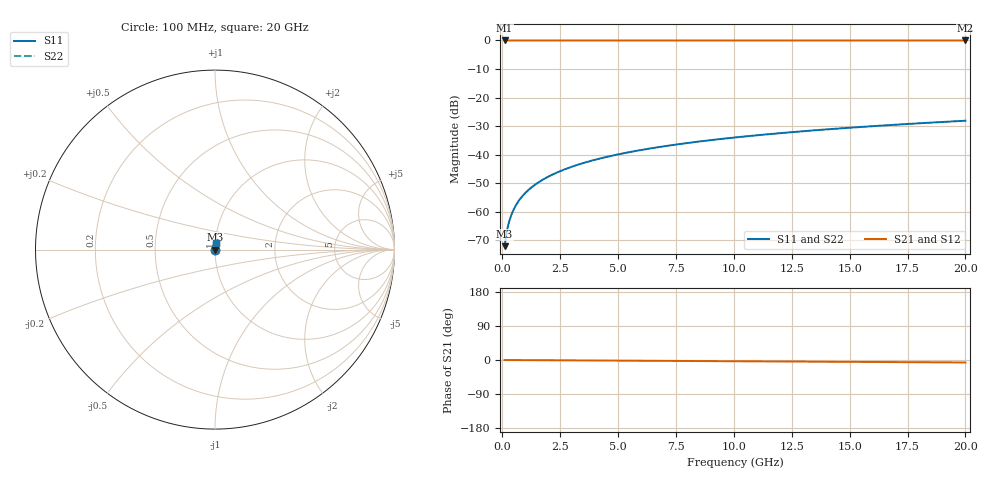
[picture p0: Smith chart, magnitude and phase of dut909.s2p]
! Touchstone file exported from HFSS 2026.1.0
!  File:  C:/ffzhzh/LocalFiles/Ansys_Project_Files/temp_train_TSV_909_1783186303_55132.aedt
!  Generated:  01:33:23 AM Jul  5, 2026
!  Design:  TSV
!  Project:  temp_train_TSV_909_1783186303_55132
! Variables:
!  h_bsmrdl = 2um
!  h_ox = 20um
!  h_rdl = 5um
!  h_sub = 53.2um
!  h_tmrdl = 5um
!  h_tsv = 53.2um
!  h_via = 3um
!  l_bsmrdl = 300um
!  l_sub = 418.36um
!  l_tmrdl = 200um
!  m_sub = 200um
!  pitch = 56.41um
!  r_tsv = 9.18um
!  s_tmrdl = 10um
!  w_bsmrdl = 18um
!  w_sub = 500um
!  w_tmrdl = 12um
!  x_tsv_center1 = 206um
!  x_tsv_center2 = 524um
!  x_tsv_center3 = 736um
!  x_tsv_center4 = 1054um
!  x_tsv_center5 = 1266um
!  x_tsv_center6 = 1584um
# GHz S MA R 50.000000
! Terminal data exported
! Port[1] = TSV1_1_T1
! Port[2] = TSV1_1_T2
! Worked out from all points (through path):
!   200 points, 100 MHz to 20 GHz, reference 50 ohm
!   highest |S21| = 0.00 dB at 100 MHz (marker M1); lowest = 0.0 dB at 20 GHz (marker M2)
!   lowest |S11| = -72.0 dB at 100 MHz (marker M3), VSWR 1.00, Z = 50 + j0.0227 ohm
!   |S11| at or under -10 dB: start of sweep to end of sweep
!   |S22| runs from -72.0 to -28.1 dB; largest |S21 - S12| = 2.1e-15
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0.1  0.0002501 65.1  0.9999 -0.0  0.9999 -0.0  0.0002501 65.1
! Gamma 0 0 0 0
! Port Impedance 50 0 50 0
0.2  0.0004658 75.9  0.9999 -0.1  0.9999 -0.1  0.0004658 75.9
0.3  0.0006853 79.4  0.9999 -0.1  0.9999 -0.1  0.0006853 79.4
0.4  0.0009027 81.0  0.9999 -0.1  0.9999 -0.1  0.0009027 81.0
0.5  0.001117 81.8  0.9998 -0.2  0.9998 -0.2  0.001117 81.8
0.6  0.001328 82.4  0.9998 -0.2  0.9998 -0.2  0.001328 82.4
0.7  0.001536 82.8  0.9998 -0.2  0.9998 -0.2  0.001536 82.8
0.8  0.001742 83.1  0.9998 -0.3  0.9998 -0.3  0.001742 83.1
1  0.002149 83.6  0.9998 -0.3  0.9998 -0.3  0.002149 83.6
1.4  0.002953 84.4  0.9997 -0.5  0.9997 -0.5  0.002953 84.4
1.7  0.003553 84.8  0.9997 -0.6  0.9997 -0.6  0.003553 84.8
2  0.004152 85.1  0.9997 -0.7  0.9997 -0.7  0.004152 85.1
2.7  0.00555 85.5  0.9996 -0.9  0.9996 -0.9  0.00555 85.5
3.5  0.007144 85.7  0.9996 -1.2  0.9996 -1.2  0.007144 85.7
4.2  0.008534 85.7  0.9995 -1.4  0.9995 -1.4  0.008534 85.7
5  0.01012 85.7  0.9995 -1.6  0.9995 -1.6  0.01012 85.7
6.8  0.01366 85.5  0.9994 -2.2  0.9994 -2.2  0.01366 85.5
8.3  0.0166 85.2  0.9992 -2.7  0.9992 -2.7  0.0166 85.2
10.1  0.02012 84.8  0.9991 -3.3  0.9991 -3.3  0.02012 84.8
13.4  0.02655 84.0  0.9989 -4.4  0.9989 -4.4  0.02655 84.0
16.7  0.03294 83.1  0.9986 -5.4  0.9986 -5.4  0.03294 83.1
20  0.0393 82.1  0.9983 -6.5  0.9983 -6.5  0.0393 82.1
